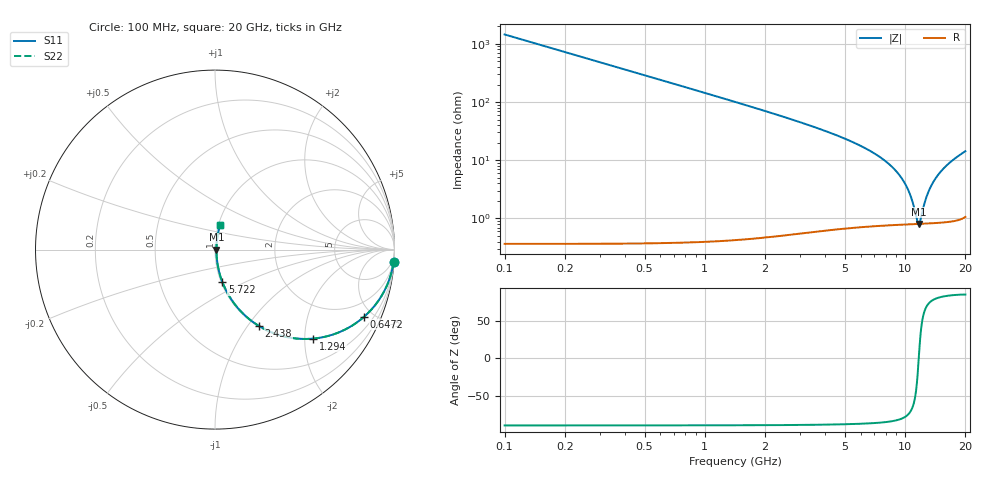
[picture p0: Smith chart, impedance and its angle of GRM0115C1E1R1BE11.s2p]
!Murata Part Number: GRM0115C1E1R1BE11
!These Parameters are Measured in Series Mode Connection
!Data Generated on Mar 30, 2021
!  o--ll--o
!Port1  Port2
!  o------o
!Operation Temp=25[degC], DC Bias Voltage=0[V]
!Freq. Start=100[MHz] Stop=20[GHz] 401[Steps]
# Hz S RI R 50
!Freq.(Hz) S11(Real) S11(Imag) S21(Real) S21(Imag) S12(Real) S12(Imag) S22(Real) S22(Imag)
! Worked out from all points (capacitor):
!   401 points, 100 MHz to 20 GHz, reference 50 ohm
!   read as one part in series: C = 1.1 pF near 199.5 MHz
!   lowest |Z| = 807 mohm at 11.69 GHz (marker M1)
!   series resonance near 11.7 GHz, so ESL is about 170 pH
!   S11 on the Smith chart (normalised r, x): 100 MHz: 1, -29; 647.2 MHz: 1.01, -4.46; 1.294 GHz: 1.01, -2.21; 2.438 GHz: 1.01, -1.13; 5.722 GHz: 1.01, -0.38; 20 GHz: 1.02, +0.29
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1e8  0.9952 -0.0688  0.00477 0.0688  0.00477 0.0688  0.9952 -0.0688
3.4875e8  0.9448 -0.2279  0.0552 0.2279  0.0552 0.2279  0.9448 -0.2279
4.98e8  0.8934 -0.308  0.1066 0.308  0.1066 0.308  0.8934 -0.308
6.4725e8  0.8319 -0.3731  0.1681 0.3731  0.1681 0.3731  0.8319 -0.3731
9.4575e8  0.6971 -0.4582  0.3029 0.4582  0.3029 0.4582  0.6971 -0.4582
1.294e9  0.5488 -0.4957  0.4512 0.4957  0.4512 0.4957  0.5488 -0.4957
1.84125e9  0.3698 -0.4798  0.6302 0.4798  0.6302 0.4798  0.3698 -0.4798
2.43825e9  0.2445 -0.4253  0.7555 0.4253  0.7555 0.4253  0.2445 -0.4253
3.43325e9  0.1319 -0.3308  0.8681 0.3308  0.8681 0.3308  0.1319 -0.3308
5.72175e9  0.0414 -0.1819  0.9586 0.1819  0.9586 0.1819  0.0414 -0.1819
6.7665e9  0.0264 -0.1366  0.9736 0.1366  0.9736 0.1366  0.0264 -0.1366
8.70675e9  0.0129 -0.0721  0.9871 0.0721  0.9871 0.0721  0.0129 -0.0721
1.005e10  0.00919 -0.0368  0.9908 0.0368  0.9908 0.0368  0.00919 -0.0368
1.069675e10  0.00837 -0.0217  0.9916 0.0217  0.9916 0.0217  0.00837 -0.0217
1.149275e10  0.008 -0.00426  0.992 0.00426  0.992 0.00426  0.008 -0.00426
1.169175e10  0.00801 -9.92e-05  0.992 9.92e-05  0.992 9.92e-05  0.00801 -9.92e-05
1.189075e10  0.00804 0.00399  0.992 -0.00399  0.992 -0.00399  0.00804 0.00399
1.268675e10  0.0085 0.0197  0.9915 -0.0197  0.9915 -0.0197  0.0085 0.0197
1.338325e10  0.00927 0.0328  0.9907 -0.0328  0.9907 -0.0328  0.00927 0.0328
1.477625e10  0.0117 0.0572  0.9883 -0.0572  0.9883 -0.0572  0.0117 0.0572
1.67165e10  0.0167 0.0885  0.9833 -0.0885  0.9833 -0.0885  0.0167 0.0885
2e10  0.0299 0.137  0.9701 -0.137  0.9701 -0.137  0.0299 0.137
